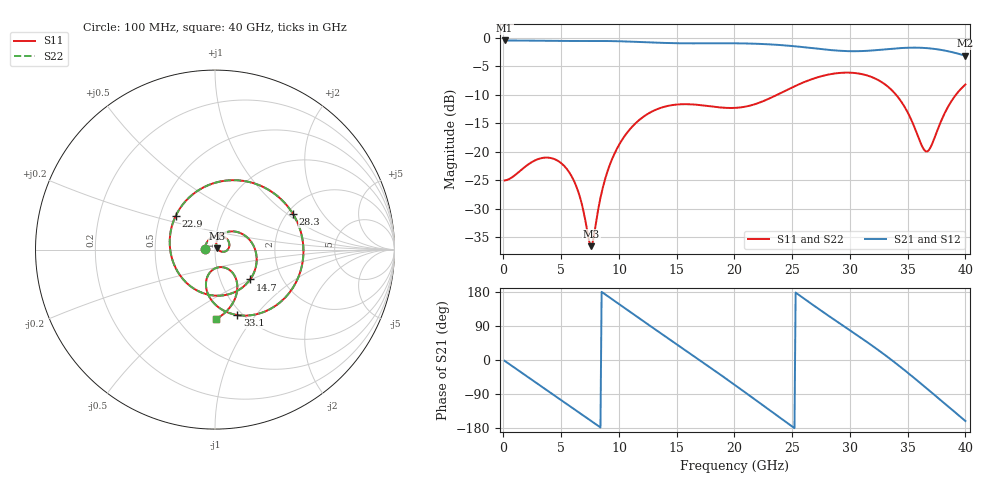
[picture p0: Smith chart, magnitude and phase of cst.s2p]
! C_s8_mixed: L1→L8, antipad Ø1.2 on L2/L7, Ø0.8 on L4/L5
! stackup: 8-layer 1.6 mm FR-4 (generic)
! ports: 1, 2
! CST Studio Suite 2025.5 Release from 2025-05-30, time domain (FIT, hexahedral, PBA), 154800 mesh cells, 35 s
! mesh: {'lpw': 20, 'lpb': 20, 'minstep': 0.0, 'ratio': 20}; ports: port 1 (face); port 2 (face)
! interpolated from CST's 1001 samples to the case grid
# Hz S RI R 50
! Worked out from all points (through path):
!   400 points, 100 MHz to 40 GHz, reference 50 ohm
!   highest |S21| = -0.51 dB at 100 MHz (marker M1); lowest = -3.2 dB at 40 GHz (marker M2)
!   group delay of S21, straight-line fit = 60.3 ps
!   lowest |S11| = -36.5 dB at 7.6 GHz (marker M3), VSWR 1.03, Z = 51.3 + j0.783 ohm
!   |S11| at or under -10 dB: start of sweep to 23.72 GHz; 33.99 GHz to 39.19 GHz (5.2 GHz wide, 14.2 % of centre)
!   |S22| runs from -36.5 to -6.1 dB; largest |S21 - S12| = 7.6e-07
!   S11 on the Smith chart (normalised r, x): 100 MHz: 0.89, +0.01; 14.7 GHz: 1.39, -0.49; 22.9 GHz: 0.60, +0.25; 28.3 GHz: 2.15, +1.10; 33.1 GHz: 0.95, -0.81; 40 GHz: 0.74, -0.68
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1e8  -0.0558 0.00508  0.9427 -0.0351  0.9427 -0.0351  -0.0558 0.00508
1.7e9  -0.0151 0.07  0.7593 -0.5556  0.7593 -0.5556  -0.0151 0.07
3.6e9  0.0643 0.0613  0.2204 -0.909  0.2204 -0.909  0.0643 0.0613
5.2e9  0.0759 0.00723  -0.3201 -0.8767  -0.3201 -0.8767  0.0759 0.00723
6.8e9  0.0328 -0.0104  -0.7548 -0.5505  -0.7548 -0.5505  0.0328 -0.0104
7.6e9  0.0128 0.00763  -0.8833 -0.3052  -0.8833 -0.3052  0.0128 0.00763
9.7e9  0.0456 0.0893  -0.836 0.4072  -0.836 0.4072  0.0456 0.0893
1.16e10  0.1664 0.0784  -0.3634 0.8413  -0.3634 0.8413  0.1664 0.0784
1.34e10  0.2323 -0.052  0.2287 0.8717  0.2287 0.8717  0.2323 -0.052
1.47e10  0.196 -0.1663  0.5975 0.6643  0.5975 0.6643  0.196 -0.1663
1.74e10  -0.0387 -0.2508  0.8797 -0.1383  0.8797 -0.1383  -0.0387 -0.2508
2.01e10  -0.2257 -0.0885  0.3438 -0.8216  0.3438 -0.8216  -0.2257 -0.0885
2.29e10  -0.2184 0.1893  -0.55 -0.6787  -0.55 -0.6787  -0.2183 0.1893
2.48e10  -0.0475 0.3548  -0.8366 -0.1316  -0.8366 -0.1316  -0.0474 0.3548
2.67e10  0.233 0.3639  -0.6823 0.4353  -0.6823 0.4353  0.233 0.3639
2.83e10  0.4347 0.1982  -0.3103 0.7133  -0.3103 0.7133  0.4347 0.1982
3.07e10  0.4446 -0.1948  0.3352 0.682  0.3352 0.682  0.4446 -0.1948
3.31e10  0.1239 -0.3645  0.7728 0.1611  0.7728 0.1611  0.1239 -0.3645
3.34e10  0.0821 -0.3542  0.7916 0.0676  0.7916 0.0676  0.082 -0.3542
3.5e10  -0.0485 -0.2161  0.68 -0.4482  0.68 -0.4482  -0.0485 -0.2161
3.69e10  0.0402 -0.0977  0.1207 -0.7952  0.1207 -0.7952  0.0402 -0.0977
4e10  0.00375 -0.3882  -0.655 -0.2263  -0.655 -0.2263  0.00372 -0.3882
